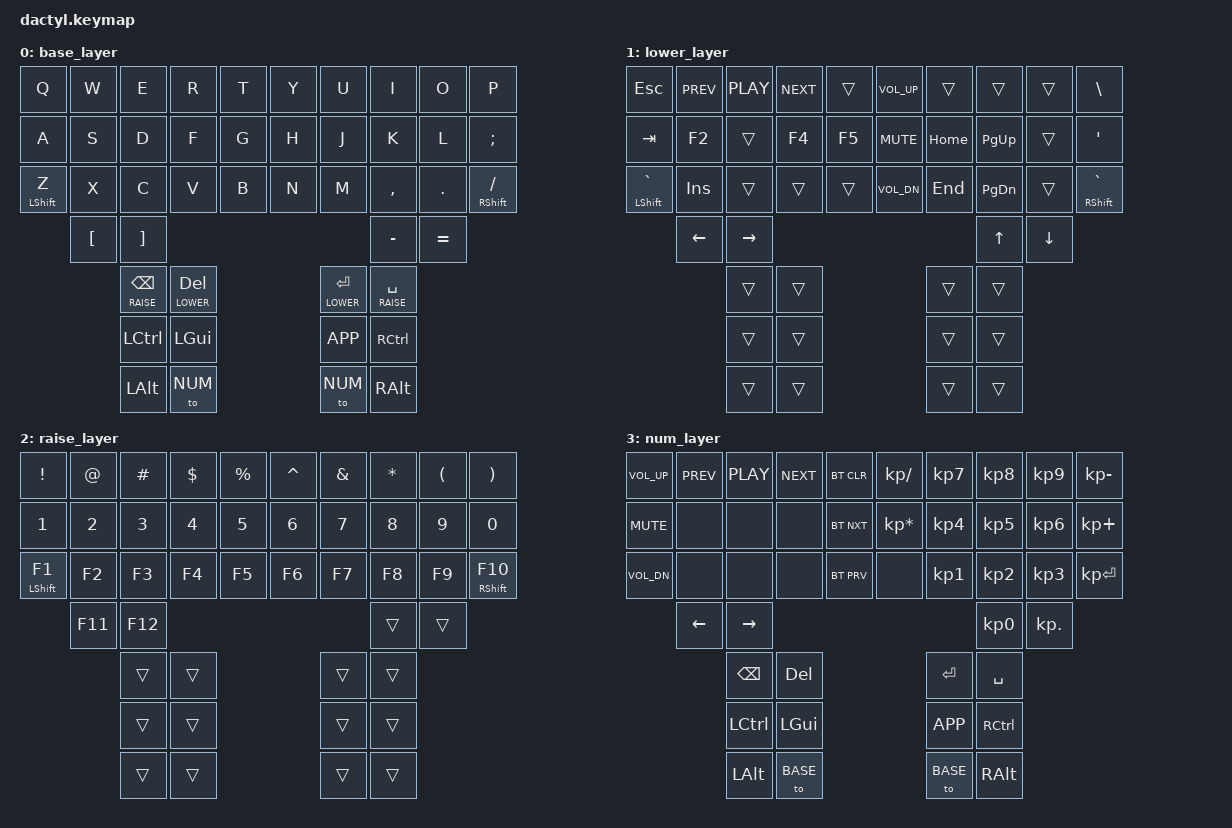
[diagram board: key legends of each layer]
#include <behaviors.dtsi>
#include <dt-bindings/zmk/keys.h>
#include <dt-bindings/zmk/bt.h>
#include <dt-bindings/zmk/outputs.h>

#define BASE 0
#define LOWER 1
#define RAISE 2
#define NUM 3



&sl {
    release-after-ms = <5000>;
};

&kscan0 {
    debounce-press-ms = <30>;
    debounce-release-ms = <30>;
};

/ {
    keymap {
        compatible = "zmk,keymap";

        base_layer {
            bindings = <
            &kp Q  &kp W    &kp E     &kp R     &kp T          &kp Y     &kp U     &kp I     &kp O     &kp P
            &kp A  &kp S    &kp D     &kp F     &kp G          &kp H     &kp J     &kp K     &kp L     &kp SEMI
     &mt LSHIFT Z  &kp X    &kp C     &kp V     &kp B          &kp N     &kp M     &kp COMMA &kp DOT   &mt RSHIFT SLASH
                   &kp LBKT &kp RBKT                                               &kp MINUS &kp EQUAL
                        &lt RAISE BSPC  &lt LOWER DEL          &lt LOWER RET   &lt RAISE SPACE
                        &kp LCTRL       &kp LGUI               &kp K_APP       &kp RCTRL
                        &kp LALT        &to NUM                &to NUM         &kp RALT
            >;
        };

        lower_layer {
            bindings = <
         &kp ESC   &kp C_PREV &kp C_PLAY &kp C_NEXT &trans          &kp C_VOL_UP     &trans     &trans       &trans       &kp BACKSLASH
         &kp TAB   &kp F2     &trans     &kp F4     &kp F5          &kp C_MUTE       &kp HOME   &kp PG_UP    &trans       &kp SINGLE_QUOTE
  &mt LSHIFT GRAVE &kp INS    &trans     &trans     &trans          &kp C_VOL_DN     &kp END    &kp PG_DN    &trans       &mt RSHIFT GRAVE
                   &kp LEFT   &kp RIGHT                                                         &kp UP       &kp DOWN
                                   &trans    &trans                 &trans    &trans
                                   &trans    &trans                 &trans    &trans
                                   &trans    &trans                 &trans    &trans
             >;
        };


        raise_layer {
            bindings = <
        &kp EXCL  &kp AT   &kp HASH  &kp DLLR  &kp PRCNT       &kp CARET &kp AMPS  &kp ASTRK &kp LPAR  &kp RPAR
        &kp N1    &kp N2   &kp N3    &kp N4    &kp N5          &kp N6    &kp N7    &kp N8    &kp N9    &kp N0
    &mt LSHIFT F1 &kp F2   &kp F3    &kp F4    &kp F5          &kp F6    &kp F7    &kp F8    &kp F9    &mt RSHIFT F10
                  &kp F11  &kp F12                                                 &trans    &trans
                                     &trans    &trans          &trans    &trans
                                     &trans    &trans          &trans    &trans
                                     &trans    &trans          &trans    &trans
            >;
        };

        num_layer {
            bindings = <
       &kp C_VOL_UP    &kp C_PREV  &kp C_PLAY   &kp C_NEXT &bt BT_CLR        &kp KP_DIVIDE   &kp KP_N7 &kp KP_N8 &kp KP_N9 &kp KP_MINUS
       &kp C_MUTE      &none       &none        &none      &bt BT_NXT        &kp KP_MULTIPLY &kp KP_N4 &kp KP_N5 &kp KP_N6 &kp KP_PLUS
       &kp C_VOL_DN    &none       &none        &none      &bt BT_PRV        &none           &kp KP_N1 &kp KP_N2 &kp KP_N3 &kp KP_ENTER
                       &kp LEFT    &kp RIGHT                                                           &kp KP_N0 &kp KP_DOT
                                                &kp BSPC   &kp DEL           &kp RET    &kp SPACE
                                                &kp LCTRL  &kp LGUI          &kp K_APP  &kp RCTRL
                                                &kp LALT   &to BASE          &to BASE   &kp RALT
            >;
        };
    };
};
